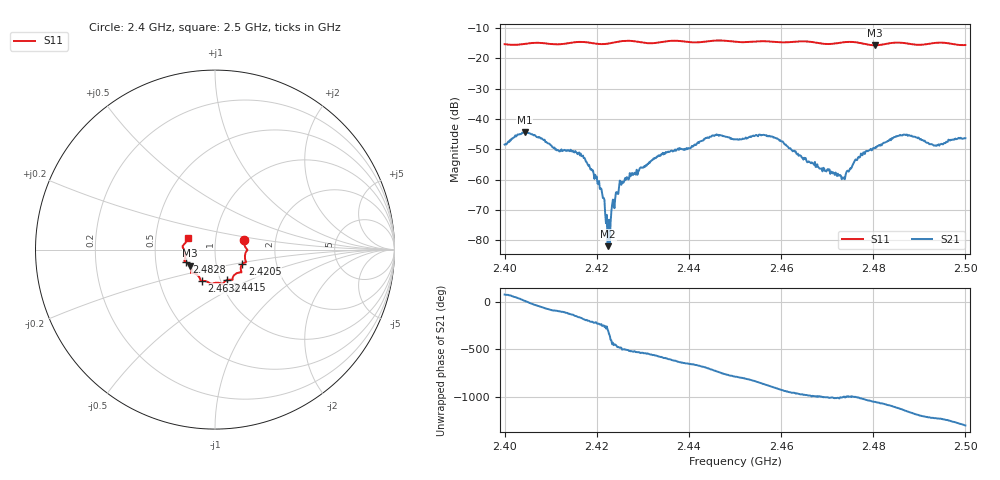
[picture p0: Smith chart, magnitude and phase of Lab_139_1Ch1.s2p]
# Hz S RI R 50
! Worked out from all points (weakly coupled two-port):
!   601 points, 2.4 GHz to 2.5 GHz, reference 50 ohm
!   highest |S21| = -44.43 dB at 2.4043 GHz (marker M1); lowest = -82.0 dB at 2.4225 GHz (marker M2)
!   lowest |S11| = -15.7 dB at 2.4803 GHz (marker M3), VSWR 1.39, Z = 37.4 - j6.83 ohm
!   |S11| at or under -10 dB: start of sweep to end of sweep
!   S12 and S22 are empty: the file has one direction only
!   S11 on the Smith chart (normalised r, x): 2.4 GHz: 1.38, +0.15; 2.4205 GHz: 1.34, -0.22; 2.4415 GHz: 1.07, -0.38; 2.4632 GHz: 0.82, -0.29; 2.4828 GHz: 0.72, -0.10; 2.5 GHz: 0.73, +0.10
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2.4e9  0.163 0.0515  0.000602 0.00375  0 0  0 0
2.404333e9  0.173 0.00821  0.00581 0.00154  0 0  0 0
2.416667e9  0.173 -0.0696  -0.00238 -0.000547  0 0  0 0
2.4205e9  0.152 -0.0814  -0.000626 0.000712  0 0  0 0
2.421333e9  0.1472 -0.0886  -0.000187 0.00046  0 0  0 0
2.4225e9  0.1437 -0.1001  4.84e-05 6.35e-05  0 0  0 0
2.423833e9  0.144 -0.1135  1.55e-05 -0.000337  0 0  0 0
2.425333e9  0.147 -0.1234  -0.000435 -0.000696  0 0  0 0
2.433333e9  0.1006 -0.1515  -0.00207 0.00137  0 0  0 0
2.4415e9  0.0654 -0.1708  0.0021 0.00305  0 0  0 0
2.4455e9  0.0423 -0.1913  0.00523 -0.000379  0 0  0 0
2.45e9  0.0243 -0.1859  0.00168 -0.00428  0 0  0 0
2.457667e9  -0.0292 -0.1868  -0.00506 -0.000892  0 0  0 0
2.463167e9  -0.0731 -0.174  -0.00114 0.00268  0 0  0 0
2.466667e9  -0.0818 -0.167  0.000289 0.0019  0 0  0 0
2.4735e9  -0.1295 -0.1303  0.000221 0.00102  0 0  0 0
2.480333e9  -0.1378 -0.089  0.00299 0.00141  0 0  0 0
2.482833e9  -0.1588 -0.0702  0.00416 -0.000192  0 0  0 0
2.483333e9  -0.1627 -0.0682  0.00428 -0.000709  0 0  0 0
2.487e9  -0.1687 -0.0554  0.00196 -0.00506  0 0  0 0
2.4935e9  -0.1794 0.0123  -0.00304 -0.00204  0 0  0 0
2.5e9  -0.1526 0.0648  -0.00344 0.00338  0 0  0 0
